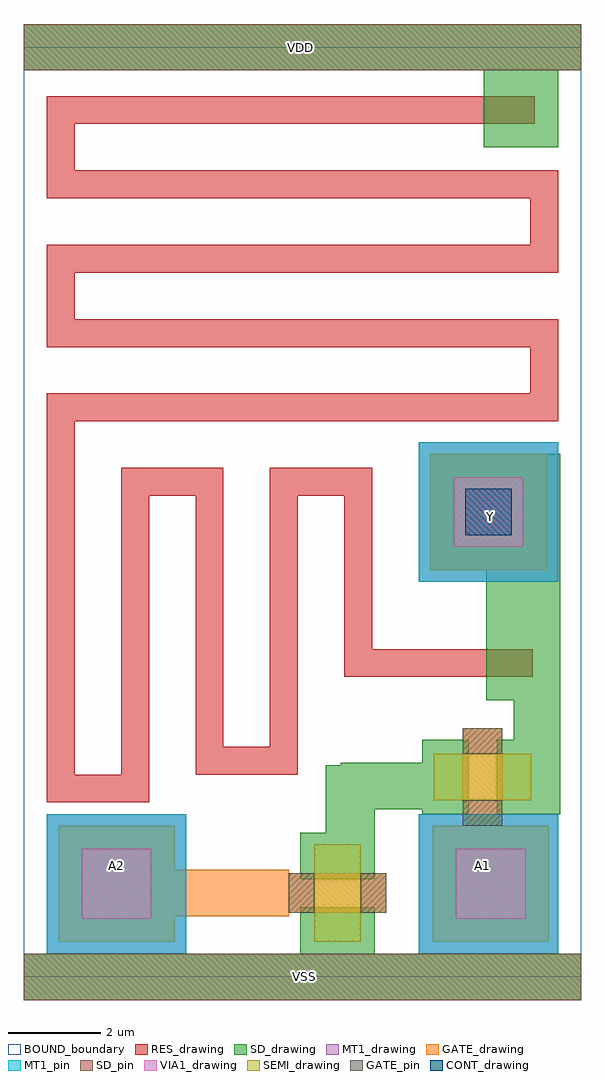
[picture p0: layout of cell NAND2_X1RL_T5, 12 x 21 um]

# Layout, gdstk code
from math import pi, radians
import gdstk
lib = gdstk.Library(unit=1e-6, precision=1e-09)
def R(c, l, rs):  # rectangles x0, y0, x1, y1
    for r in rs: c.add(gdstk.rectangle(r[:2], r[2:], *l))
def P(c, l, *ps):  # polygons
    for p in ps: c.add(gdstk.Polygon(p, *l))
RES_drawing = (1, 0)
SEMI_drawing = (3, 0)
SD_drawing = (10, 0)
SD_pin = (10, 3)
GATE_drawing = (11, 0)
GATE_pin = (11, 3)
MT1_drawing = (20, 0)
MT1_pin = (20, 3)
CONT_drawing = (30, 0)
VIA1_drawing = (41, 0)
BOUND_boundary = (150, 5)

nch_cdns_772544996800 = lib.new_cell('nch_CDNS_772544996800')
R(nch_cdns_772544996800, SEMI_drawing, [(-1.05,-0.5,1.05,0.5)])
R(nch_cdns_772544996800, SD_drawing, [(-1.3,-0.8,-0.3,0.8), (0.3,-0.8,1.3,0.8)])
R(nch_cdns_772544996800, GATE_drawing, [(-0.425,-1.05,0.425,1.05)])
R(nch_cdns_772544996800, GATE_pin, [(-0.425,-1.05,0.425,-0.5), (-0.425,0.5,0.425,1.05)])

sd_gate_cdns_77254499680 = lib.new_cell('SD_GATE_CDNS_772544996800')
R(sd_gate_cdns_77254499680, SD_drawing, [(-1,-1,1,1)])
R(sd_gate_cdns_77254499680, GATE_drawing, [(-1,-1,1,1)])
R(sd_gate_cdns_77254499680, CONT_drawing, [(-0.5,-0.5,0.5,0.5)])

gate_mt1_cdns_7725449968 = lib.new_cell('GATE_MT1_CDNS_772544996801')
R(gate_mt1_cdns_7725449968, GATE_drawing, [(-1.25,-1.25,1.25,1.25)])
R(gate_mt1_cdns_7725449968, MT1_drawing, [(-1.25,-1.25,1.25,1.25)])
R(gate_mt1_cdns_7725449968, VIA1_drawing, [(-0.75,-0.75,0.75,0.75)])

nand2_x1rl_t5 = lib.new_cell('NAND2_X1RL_T5')
R(nand2_x1rl_t5, SD_drawing, [(10.55,3.5,11.55,11.25), (9.95,5.95,11.25,8.75), (8.75,8.75,11.25,11.25), (9.9,17.85,11.5,19.5)])
R(nand2_x1rl_t5, SD_pin, [(0,-0.5,12,0.5), (0,19.5,12,20.5)])
P(nand2_x1rl_t5, GATE_drawing, [(9.35,3.15),(10.35,3.15),(10.35,3.25),(10.25,3.25),(10.25,3.3),(9.5,3.3),(9.5,3.25),(9.35,3.25)],
  [(5.6,2.3),(5.6,1.3),(5.7,1.3),(5.7,1.425),(5.75,1.425),(5.75,2.175),(5.7,2.175),(5.7,2.3)])
R(nand2_x1rl_t5, MT1_drawing, [(0.5,0.5,3.5,3.5), (8.5,0.5,11.5,3.5), (8.5,8.5,11.5,11.5)])
R(nand2_x1rl_t5, MT1_pin, [(0.5,0.5,3.5,3.5), (8.5,0.5,11.5,3.5), (8.5,8.5,11.5,11.5)])
R(nand2_x1rl_t5, BOUND_boundary, [(0,0,12,20)])
nand2_x1rl_t5.add(gdstk.FlexPath([(11,18.65),(0.8,18.65),(0.8,17.05),(11.2,17.05),(11.2,15.45),(0.8,15.45),(0.8,13.85),(11.2,13.85),(11.2,12.25),(0.8,12.25),(0.8,4.05),(2.4,4.05),(2.4,10.65),(4,10.65),(4,4.65),(5.6,4.65),(5.6,10.65),(7.2,10.65),(7.2,6.75),(10.95,6.75)], 0.6, ends="flush", simple_path=True, layer=1, datatype=0))  # RES_drawing
nand2_x1rl_t5.add(gdstk.FlexPath([(7.025,3.325),(7.025,4.05)], 1.05, ends=(0.525, 0.5), simple_path=True, layer=10, datatype=0))  # SD_drawing
nand2_x1rl_t5.add(gdstk.FlexPath([(7.35,4.1),(8.775,4.1)], 1, ends=(0.525, 0), simple_path=True, layer=10, datatype=0))  # SD_drawing
nand2_x1rl_t5.add(gdstk.FlexPath([(0,0),(12,0)], 1, ends="flush", simple_path=True, layer=10, datatype=0))  # SD_drawing
nand2_x1rl_t5.add(gdstk.FlexPath([(0,20),(12,20)], 1, ends="flush", simple_path=True, layer=10, datatype=0))  # SD_drawing
nand2_x1rl_t5.add(gdstk.FlexPath([(5.6,1.8),(3.25,1.8)], 1, ends="flush", simple_path=True, layer=11, datatype=0))  # GATE_drawing
nand2_x1rl_t5.add(gdstk.Reference(nch_cdns_772544996800, (6.75,1.8), rotation=pi/2))
nand2_x1rl_t5.add(gdstk.Reference(nch_cdns_772544996800, (9.875,4.3)))
nand2_x1rl_t5.add(gdstk.Reference(sd_gate_cdns_77254499680, (10,10)))
nand2_x1rl_t5.add(gdstk.Reference(gate_mt1_cdns_7725449968, (2,2)))
nand2_x1rl_t5.add(gdstk.Reference(gate_mt1_cdns_7725449968, (10.05,2)))
nand2_x1rl_t5.add(gdstk.Reference(gate_mt1_cdns_7725449968, (10,10)))
nand2_x1rl_t5.add(gdstk.Label('VDD', (5.95,20), layer=10, texttype=3))
nand2_x1rl_t5.add(gdstk.Label('VSS', (6.05,0), layer=10, texttype=3))
nand2_x1rl_t5.add(gdstk.Label('Y', (10.05,9.9), layer=20, texttype=3))
nand2_x1rl_t5.add(gdstk.Label('A2', (2,2.4), layer=20, texttype=3))
nand2_x1rl_t5.add(gdstk.Label('A1', (9.875,2.4), layer=20, texttype=3))

lib.write_gds('NAND2_X1RL_T5.gds')
